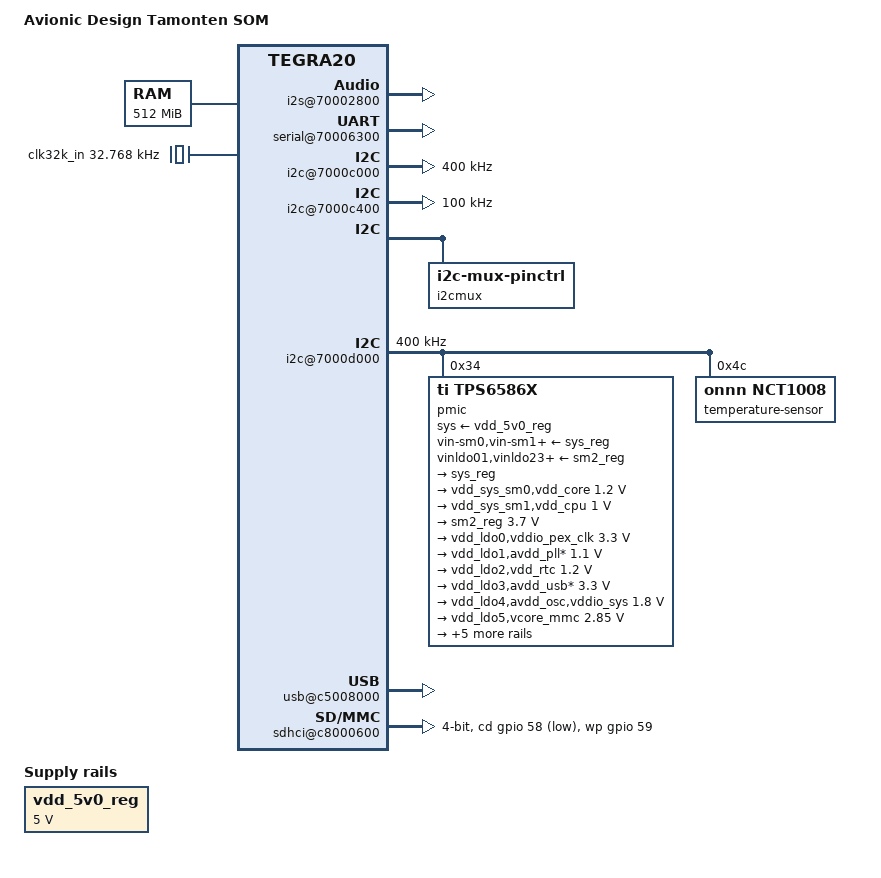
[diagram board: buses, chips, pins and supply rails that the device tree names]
#include "tegra20.dtsi"

/ {
	model = "Avionic Design Tamonten SOM";
	compatible = "ad,tamonten", "nvidia,tegra20";

	memory {
		reg = <0x00000000 0x20000000>;
	};

	host1x {
		hdmi {
			vdd-supply = <&hdmi_vdd_reg>;
			pll-supply = <&hdmi_pll_reg>;

			nvidia,ddc-i2c-bus = <&hdmi_ddc>;
			nvidia,hpd-gpio = <&gpio 111 0>; /* PN7 */
		};
	};

	pinmux {
		pinctrl-names = "default";
		pinctrl-0 = <&state_default>;

		state_default: pinmux {
			ata {
				nvidia,pins = "ata";
				nvidia,function = "ide";
			};
			atb {
				nvidia,pins = "atb", "gma", "gme";
				nvidia,function = "sdio4";
			};
			atc {
				nvidia,pins = "atc";
				nvidia,function = "nand";
			};
			atd {
				nvidia,pins = "atd", "ate", "gmb", "gmd", "gpu",
					"spia", "spib", "spic";
				nvidia,function = "gmi";
			};
			cdev1 {
				nvidia,pins = "cdev1";
				nvidia,function = "plla_out";
			};
			cdev2 {
				nvidia,pins = "cdev2";
				nvidia,function = "pllp_out4";
			};
			crtp {
				nvidia,pins = "crtp";
				nvidia,function = "crt";
			};
			csus {
				nvidia,pins = "csus";
				nvidia,function = "vi_sensor_clk";
			};
			dap1 {
				nvidia,pins = "dap1";
				nvidia,function = "dap1";
			};
			dap2 {
				nvidia,pins = "dap2";
				nvidia,function = "dap2";
			};
			dap3 {
				nvidia,pins = "dap3";
				nvidia,function = "dap3";
			};
			dap4 {
				nvidia,pins = "dap4";
				nvidia,function = "dap4";
			};
			dta {
				nvidia,pins = "dta", "dtd";
				nvidia,function = "sdio2";
			};
			dtb {
				nvidia,pins = "dtb", "dtc", "dte";
				nvidia,function = "rsvd1";
			};
			dtf {
				nvidia,pins = "dtf";
				nvidia,function = "i2c3";
			};
			gmc {
				nvidia,pins = "gmc";
				nvidia,function = "uartd";
			};
			gpu7 {
				nvidia,pins = "gpu7";
				nvidia,function = "rtck";
			};
			gpv {
				nvidia,pins = "gpv", "slxa", "slxk";
				nvidia,function = "pcie";
			};
			hdint {
				nvidia,pins = "hdint";
				nvidia,function = "hdmi";
			};
			i2cp {
				nvidia,pins = "i2cp";
				nvidia,function = "i2cp";
			};
			irrx {
				nvidia,pins = "irrx", "irtx";
				nvidia,function = "uarta";
			};
			kbca {
				nvidia,pins = "kbca", "kbcb", "kbcc", "kbcd",
					"kbce", "kbcf";
				nvidia,function = "kbc";
			};
			lcsn {
				nvidia,pins = "lcsn", "ld0", "ld1", "ld2",
					"ld3", "ld4", "ld5", "ld6", "ld7",
					"ld8", "ld9", "ld10", "ld11", "ld12",
					"ld13", "ld14", "ld15", "ld16", "ld17",
					"ldc", "ldi", "lhp0", "lhp1", "lhp2",
					"lhs", "lm0", "lm1", "lpp", "lpw0",
					"lpw1", "lpw2", "lsc0", "lsc1", "lsck",
					"lsda", "lsdi", "lspi", "lvp0", "lvp1",
					"lvs";
				nvidia,function = "displaya";
			};
			owc {
				nvidia,pins = "owc", "spdi", "spdo", "uac";
				nvidia,function = "rsvd2";
			};
			pmc {
				nvidia,pins = "pmc";
				nvidia,function = "pwr_on";
			};
			rm {
				nvidia,pins = "rm";
				nvidia,function = "i2c1";
			};
			sdb {
				nvidia,pins = "sdb", "sdc", "sdd";
				nvidia,function = "pwm";
			};
			sdio1 {
				nvidia,pins = "sdio1";
				nvidia,function = "sdio1";
			};
			slxc {
				nvidia,pins = "slxc", "slxd";
				nvidia,function = "spdif";
			};
			spid {
				nvidia,pins = "spid", "spie", "spif";
				nvidia,function = "spi1";
			};
			spig {
				nvidia,pins = "spig", "spih";
				nvidia,function = "spi2_alt";
			};
			uaa {
				nvidia,pins = "uaa", "uab", "uda";
				nvidia,function = "ulpi";
			};
			uad {
				nvidia,pins = "uad";
				nvidia,function = "irda";
			};
			uca {
				nvidia,pins = "uca", "ucb";
				nvidia,function = "uartc";
			};
			conf_ata {
				nvidia,pins = "ata", "atb", "atc", "atd", "ate",
					"cdev1", "cdev2", "dap1", "dtb", "gma",
					"gmb", "gmc", "gmd", "gme", "gpu7",
					"gpv", "i2cp", "pta", "rm", "slxa",
					"slxk", "spia", "spib", "uac";
				nvidia,pull = <0>;
				nvidia,tristate = <0>;
			};
			conf_ck32 {
				nvidia,pins = "ck32", "ddrc", "pmca", "pmcb",
					"pmcc", "pmcd", "pmce", "xm2c", "xm2d";
				nvidia,pull = <0>;
			};
			conf_csus {
				nvidia,pins = "csus", "spid", "spif";
				nvidia,pull = <1>;
				nvidia,tristate = <1>;
			};
			conf_crtp {
				nvidia,pins = "crtp", "dap2", "dap3", "dap4",
					"dtc", "dte", "dtf", "gpu", "sdio1",
					"slxc", "slxd", "spdi", "spdo", "spig",
					"uda";
				nvidia,pull = <0>;
				nvidia,tristate = <1>;
			};
			conf_ddc {
				nvidia,pins = "ddc", "dta", "dtd", "kbca",
					"kbcb", "kbcc", "kbcd", "kbce", "kbcf",
					"sdc";
				nvidia,pull = <2>;
				nvidia,tristate = <0>;
			};
			conf_hdint {
				nvidia,pins = "hdint", "lcsn", "ldc", "lm1",
					"lpw1", "lsc1", "lsck", "lsda", "lsdi",
					"lvp0", "owc", "sdb";
				nvidia,tristate = <1>;
			};
			conf_irrx {
				nvidia,pins = "irrx", "irtx", "sdd", "spic",
					"spie", "spih", "uaa", "uab", "uad",
					"uca", "ucb";
				nvidia,pull = <2>;
				nvidia,tristate = <1>;
			};
			conf_lc {
				nvidia,pins = "lc", "ls";
				nvidia,pull = <2>;
			};
			conf_ld0 {
				nvidia,pins = "ld0", "ld1", "ld2", "ld3", "ld4",
					"ld5", "ld6", "ld7", "ld8", "ld9",
					"ld10", "ld11", "ld12", "ld13", "ld14",
					"ld15", "ld16", "ld17", "ldi", "lhp0",
					"lhp1", "lhp2", "lhs", "lm0", "lpp",
					"lpw0", "lpw2", "lsc0", "lspi", "lvp1",
					"lvs", "pmc";
				nvidia,tristate = <0>;
			};
			conf_ld17_0 {
				nvidia,pins = "ld17_0", "ld19_18", "ld21_20",
					"ld23_22";
				nvidia,pull = <1>;
			};
		};

		state_i2cmux_ddc: pinmux_i2cmux_ddc {
			ddc {
				nvidia,pins = "ddc";
				nvidia,function = "i2c2";
			};
			pta {
				nvidia,pins = "pta";
				nvidia,function = "rsvd4";
			};
		};

		state_i2cmux_pta: pinmux_i2cmux_pta {
			ddc {
				nvidia,pins = "ddc";
				nvidia,function = "rsvd4";
			};
			pta {
				nvidia,pins = "pta";
				nvidia,function = "i2c2";
			};
		};

		state_i2cmux_idle: pinmux_i2cmux_idle {
			ddc {
				nvidia,pins = "ddc";
				nvidia,function = "rsvd4";
			};
			pta {
				nvidia,pins = "pta";
				nvidia,function = "rsvd4";
			};
		};
	};

	i2s@70002800 {
		status = "okay";
	};

	serial@70006300 {
		status = "okay";
	};

	i2c@7000c000 {
		clock-frequency = <400000>;
		status = "okay";
	};

	i2c@7000c400 {
		clock-frequency = <100000>;
		status = "okay";
	};

	i2cmux {
		compatible = "i2c-mux-pinctrl";
		#address-cells = <1>;
		#size-cells = <0>;

		i2c-parent = <&{/i2c@7000c400}>;

		pinctrl-names = "ddc", "pta", "idle";
		pinctrl-0 = <&state_i2cmux_ddc>;
		pinctrl-1 = <&state_i2cmux_pta>;
		pinctrl-2 = <&state_i2cmux_idle>;

		hdmi_ddc: i2c@0 {
			reg = <0>;
			#address-cells = <1>;
			#size-cells = <0>;
		};

		i2c@1 {
			reg = <1>;
			#address-cells = <1>;
			#size-cells = <0>;
		};
	};

	i2c@7000d000 {
		clock-frequency = <400000>;
		status = "okay";

		pmic: tps6586x@34 {
			compatible = "ti,tps6586x";
			reg = <0x34>;
			interrupts = <0 86 0x4>;

			ti,system-power-controller;

			#gpio-cells = <2>;
			gpio-controller;

			sys-supply = <&vdd_5v0_reg>;
			vin-sm0-supply = <&sys_reg>;
			vin-sm1-supply = <&sys_reg>;
			vin-sm2-supply = <&sys_reg>;
			vinldo01-supply = <&sm2_reg>;
			vinldo23-supply = <&sm2_reg>;
			vinldo4-supply = <&sm2_reg>;
			vinldo678-supply = <&sm2_reg>;
			vinldo9-supply = <&sm2_reg>;

			regulators {
				sys_reg: sys {
					regulator-name = "vdd_sys";
					regulator-always-on;
				};

				sm0 {
					regulator-name = "vdd_sys_sm0,vdd_core";
					regulator-min-microvolt = <1200000>;
					regulator-max-microvolt = <1200000>;
					regulator-always-on;
				};

				sm1 {
					regulator-name = "vdd_sys_sm1,vdd_cpu";
					regulator-min-microvolt = <1000000>;
					regulator-max-microvolt = <1000000>;
					regulator-always-on;
				};

				sm2_reg: sm2 {
					regulator-name = "vdd_sys_sm2,vin_ldo*";
					regulator-min-microvolt = <3700000>;
					regulator-max-microvolt = <3700000>;
					regulator-always-on;
				};

				ldo0 {
					regulator-name = "vdd_ldo0,vddio_pex_clk";
					regulator-min-microvolt = <3300000>;
					regulator-max-microvolt = <3300000>;
				};

				ldo1 {
					regulator-name = "vdd_ldo1,avdd_pll*";
					regulator-min-microvolt = <1100000>;
					regulator-max-microvolt = <1100000>;
					regulator-always-on;
				};

				ldo2 {
					regulator-name = "vdd_ldo2,vdd_rtc";
					regulator-min-microvolt = <1200000>;
					regulator-max-microvolt = <1200000>;
				};

				ldo3 {
					regulator-name = "vdd_ldo3,avdd_usb*";
					regulator-min-microvolt = <3300000>;
					regulator-max-microvolt = <3300000>;
					regulator-always-on;
				};

				ldo4 {
					regulator-name = "vdd_ldo4,avdd_osc,vddio_sys";
					regulator-min-microvolt = <1800000>;
					regulator-max-microvolt = <1800000>;
					regulator-always-on;
				};

				ldo5 {
					regulator-name = "vdd_ldo5,vcore_mmc";
					regulator-min-microvolt = <2850000>;
					regulator-max-microvolt = <2850000>;
				};

				ldo6 {
					regulator-name = "vdd_ldo6,avdd_vdac";
					/*
					 * According to the Tegra 2 Automotive
					 * DataSheet, a typical value for this
					 * would be 2.8V, but the PMIC only
					 * supports 2.85V.
					 */
					regulator-min-microvolt = <2850000>;
					regulator-max-microvolt = <2850000>;
				};

				hdmi_vdd_reg: ldo7 {
					regulator-name = "vdd_ldo7,avdd_hdmi";
					regulator-min-microvolt = <3300000>;
					regulator-max-microvolt = <3300000>;
				};

				hdmi_pll_reg: ldo8 {
					regulator-name = "vdd_ldo8,avdd_hdmi_pll";
					regulator-min-microvolt = <1800000>;
					regulator-max-microvolt = <1800000>;
				};

				ldo9 {
					regulator-name = "vdd_ldo9,vdd_ddr_rx,avdd_cam";
					/*
					 * According to the Tegra 2 Automotive
					 * DataSheet, a typical value for this
					 * would be 2.8V, but the PMIC only
					 * supports 2.85V.
					 */
					regulator-min-microvolt = <2850000>;
					regulator-max-microvolt = <2850000>;
					regulator-always-on;
				};

				ldo_rtc {
					regulator-name = "vdd_rtc_out";
					regulator-min-microvolt = <3300000>;
					regulator-max-microvolt = <3300000>;
					regulator-always-on;
				};
			};
		};

		temperature-sensor@4c {
			compatible = "onnn,nct1008";
			reg = <0x4c>;
		};
	};

	pmc {
		nvidia,invert-interrupt;
		nvidia,suspend-mode = <2>;
		nvidia,cpu-pwr-good-time = <5000>;
		nvidia,cpu-pwr-off-time = <5000>;
		nvidia,core-pwr-good-time = <3845 3845>;
		nvidia,core-pwr-off-time = <3875>;
		nvidia,sys-clock-req-active-high;
	};

	usb@c5008000 {
		status = "okay";
	};

	usb-phy@c5008000 {
		status = "okay";
	};

	sdhci@c8000600 {
		cd-gpios = <&gpio 58 1>; /* gpio PH2 */
		wp-gpios = <&gpio 59 0>; /* gpio PH3 */
		bus-width = <4>;
		status = "okay";
	};

	clocks {
		compatible = "simple-bus";
		#address-cells = <1>;
		#size-cells = <0>;

		clk32k_in: clock {
			compatible = "fixed-clock";
			reg=<0>;
			#clock-cells = <0>;
			clock-frequency = <32768>;
		};
	};

	regulators {
		compatible = "simple-bus";

		#address-cells = <1>;
		#size-cells = <0>;

		vdd_5v0_reg: regulator@0 {
			compatible = "regulator-fixed";
			reg = <0>;
			regulator-name = "vdd_5v0";
			regulator-min-microvolt = <5000000>;
			regulator-max-microvolt = <5000000>;
			regulator-always-on;
		};
	};
};
